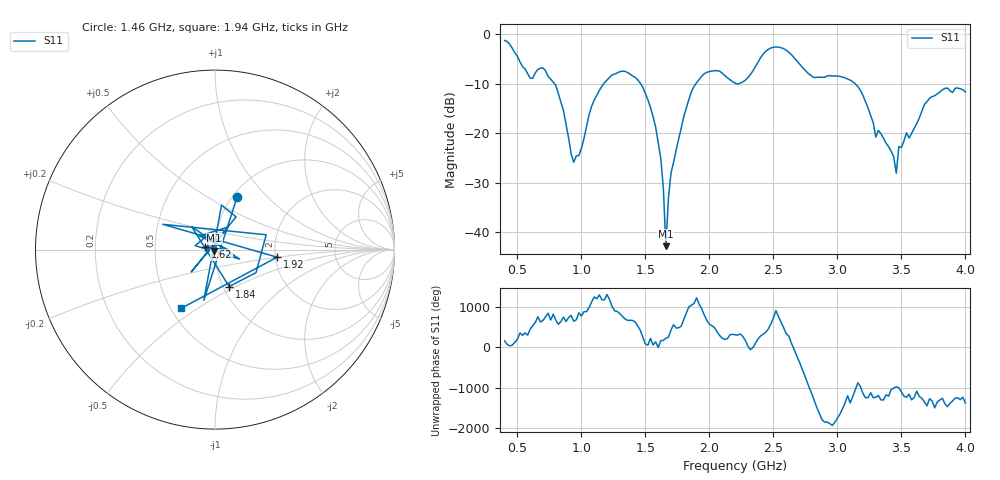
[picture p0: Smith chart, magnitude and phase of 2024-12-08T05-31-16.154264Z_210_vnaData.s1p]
!Created with skrf (http://scikit-rf.org).
# Hz S RI R 50.0
!freq ReS11 ImS11
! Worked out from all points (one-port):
!   181 points, 400 MHz to 4 GHz, reference 50 ohm
!   lowest |S11| = -42.8 dB at 1.66 GHz (marker M1), VSWR 1.01, Z = 49.5 - j0.529 ohm
!   |S11| at or under -10 dB: 789.8 MHz to 1.175 GHz (384.8 MHz wide, 39.2 % of centre); 1.462 GHz to 1.895 GHz (432.3 MHz wide, 25.8 % of centre); 3.138 GHz to end of sweep (the widest 3 of 4)
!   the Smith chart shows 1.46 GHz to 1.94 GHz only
!   S11 on the Smith chart (normalised r, x): 1.46 GHz: 1.05, +0.69; 1.62 GHz: 0.90, +0.03; 1.84 GHz: 1.07, -0.46; 1.92 GHz: 2.05, -0.20; 1.94 GHz: 0.57, -0.43
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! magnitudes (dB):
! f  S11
! 400 MHz  -1.3
! 600 MHz  -8.9
! 720 MHz  -7.4
! 860 MHz  -15.4
! 940 MHz  -25.9
! 1.1 GHz  -13.3
! 1.3 GHz  -7.6
! 1.46 GHz  -9.9
! 1.56 GHz  -16.7
! 1.62 GHz  -25.1
! 1.64 GHz  -31.0
! 1.66 GHz  -42.8
! 1.7 GHz  -28.1
! 1.76 GHz  -21.1
! 1.84 GHz  -13.1
! 1.92 GHz  -9.1
! 1.94 GHz  -8.5
! 2.2 GHz  -9.9
! 2.48 GHz  -2.8
! 2.66 GHz  -4.7
! 2.82 GHz  -8.8
! 3.1 GHz  -9.3
! 3.42 GHz  -23.6
! 3.46 GHz  -28.1
! 3.48 GHz  -22.7
! 3.56 GHz  -21.0
! 3.72 GHz  -13.0
! 4 GHz  -11.7
